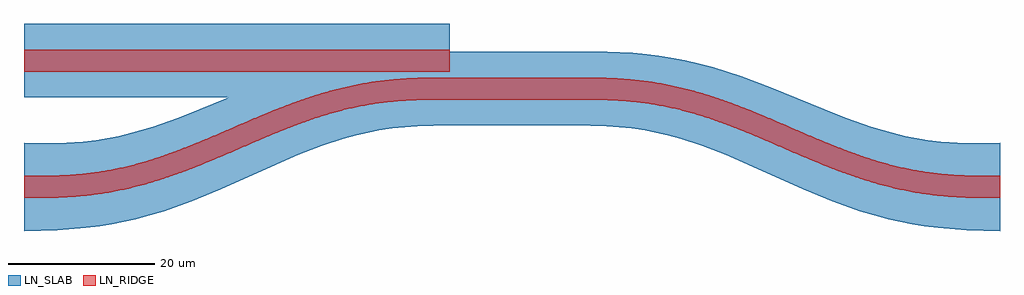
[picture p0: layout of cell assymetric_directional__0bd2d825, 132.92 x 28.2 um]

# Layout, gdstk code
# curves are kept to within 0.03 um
from math import pi, radians
import gdstk
lib = gdstk.Library(unit=1e-6, precision=1e-09)
def R(c, l, rs):  # rectangles x0, y0, x1, y1
    for r in rs: c.add(gdstk.rectangle(r[:2], r[2:], *l))
def P(c, l, *ps):  # polygons
    for p in ps: c.add(gdstk.Polygon(p, *l))
LN_RIDGE = (2, 0)
LN_SLAB = (3, 0)

bend_s_spline_varying_w_ = lib.new_cell('bend_S_spline_varying_w_ab0c67b2')
P(bend_s_spline_varying_w_, LN_RIDGE, [(0,-1.5),(0,1.5),(4.584,1.56),(6.563,1.666),(8.251,1.816),(9.936,2.027),(11.899,2.356),(13.583,2.711),(15.552,3.21),(18.659,4.167),(21.787,5.309),(25.226,6.711),(32.483,9.821),(36.602,11.446),(40.162,12.649),(41.95,13.164),(43.743,13.612),(46.737,14.203),(50.029,14.627),(53.6,14.849),(58,14.9),(58,11.9),(53.416,11.84),(51.437,11.734),(49.749,11.584),(48.064,11.373),(46.101,11.044),(44.417,10.689),(42.448,10.19),(39.341,9.233),(36.213,8.091),(32.774,6.689),(25.517,3.579),(21.398,1.954),(17.838,0.751),(16.05,0.236),(14.257,-0.212),(11.263,-0.803),(7.971,-1.227),(4.4,-1.449)])
P(bend_s_spline_varying_w_, LN_SLAB, [(4.519,-5.019),(0,-5),(0,5),(4.449,5.134),(7.865,5.436),(9.667,5.702),(11.205,5.994),(12.744,6.349),(14.551,6.842),(17.432,7.788),(20.654,9.037),(23.691,10.342),(31.217,13.711),(35.171,15.337),(38.932,16.673),(40.848,17.255),(42.784,17.77),(46.038,18.462),(47.668,18.728),(49.618,18.977),(53.452,19.274),(58,19.4),(58,7.4),(53.318,7.415),(49.956,7.225),(48.176,7.019),(46.652,6.779),(45.12,6.476),(43.313,6.043),(40.415,5.191),(37.155,4.045),(34.07,2.837),(26.723,-0.166),(22.729,-1.663),(18.947,-2.877),(17.028,-3.397),(15.096,-3.85),(13.155,-4.228),(11.536,-4.485),(9.92,-4.689),(7.993,-4.865)])

straight_l16p92_n2_csxs_ = lib.new_cell('straight_L16p92_N2_CSxs_12677d9c')
R(straight_l16p92_n2_csxs_, LN_RIDGE, [(0,-1.5,16.92,1.5)])
R(straight_l16p92_n2_csxs_, LN_SLAB, [(0,-5,16.92,5)])

straight_l58_n2_csxs_66_ = lib.new_cell('straight_L58_N2_CSxs_66_e672fc3a')
R(straight_l58_n2_csxs_66_, LN_RIDGE, [(0,-1.5,58,1.5)])
R(straight_l58_n2_csxs_66_, LN_SLAB, [(0,-5,58,5)])

assymetric_directional__ = lib.new_cell('assymetric_directional__0bd2d825')
assymetric_directional__.add(gdstk.Reference(bend_s_spline_varying_w_, (-8.46,-1.9), rotation=pi))
assymetric_directional__.add(gdstk.Reference(straight_l16p92_n2_csxs_, (-8.46,-1.9)))
assymetric_directional__.add(gdstk.Reference(bend_s_spline_varying_w_, (8.46,-1.9), x_reflection=True))
assymetric_directional__.add(gdstk.Reference(straight_l58_n2_csxs_66_, (-66.46,1.9)))

lib.write_gds('assymetric_directional__0bd2d825.gds')
